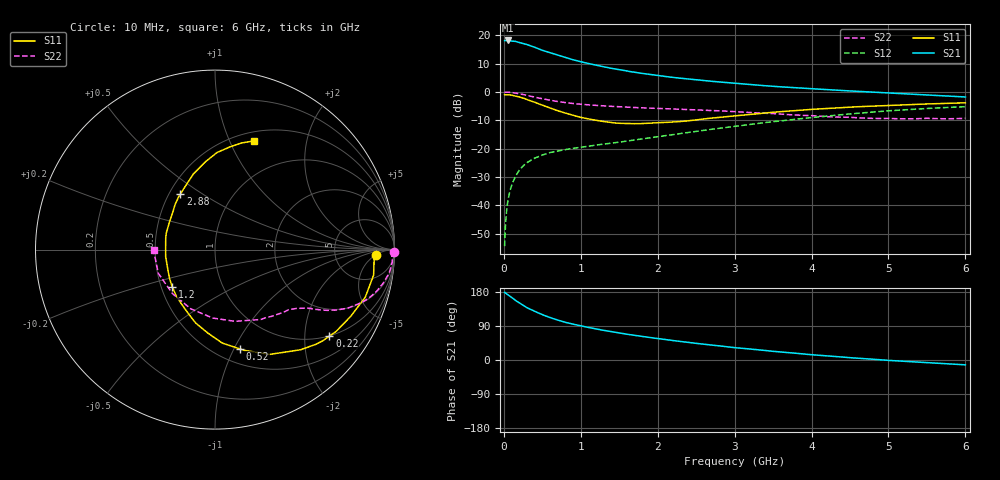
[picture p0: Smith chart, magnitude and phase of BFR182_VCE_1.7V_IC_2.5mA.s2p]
! Infineon Technologies  Discrete & RF Semiconductors
! BFR182
! VCE =  1.7 V,  IC =  2.5 mA
! Common Emitter S-Parameters:  Nov 2015
# GHz  S  MA  R  50
!  f  S11  S21  S12  S22
! GHz  MAG  ANG  MAG  ANG  MAG  ANG  MAG  ANG
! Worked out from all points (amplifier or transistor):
!   210 points, 10 MHz to 6 GHz, reference 50 ohm
!   highest |S21| = 18.1 dB at 50 MHz (marker M1)
!   |S21| within 3 dB of that: start of sweep to 455.3 MHz
!   unconditionally stable (mu >= 1): 1.352 GHz to 3.066 GHz
!   at 185 MHz: K = 0.21, MSG = 22.9 dB, |S12| = -28.3 dB
!   at 1.52 GHz: K = 1.04, MAG = 11.4 dB, |S12| = -17.6 dB
!   at 6 GHz: K = 0.90, MSG = 1.7 dB, |S12| = -5.2 dB
!   S11 on the Smith chart (normalised r, x): 10 MHz: 17, -5; 220 MHz: 0.99, -2.65; 520 MHz: 0.64, -1.06; 1.2 GHz: 0.57, -0.26; 2.88 GHz: 0.57, +0.41; 6 GHz: 0.60, +1.23
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0.01  0.8971 -2.0  8.006 178.7  0.0019 90.3  0.9963 -0.8
0.025  0.8887 -4.4  8.071 176.2  0.0053 87.4  0.9856 -2.0
0.05  0.895 -9.1  8.081 172.5  0.0114 83.5  0.9901 -4.0
0.09  0.88 -15.9  7.917 166.8  0.02 81.8  0.9811 -7.0
0.15  0.8426 -26.2  7.791 157.1  0.0319 74.9  0.954 -11.5
0.22  0.7991 -37.1  7.306 148.3  0.0445 69.7  0.9172 -15.7
0.3  0.7339 -49.5  6.851 138.1  0.0565 64.7  0.8684 -19.9
0.4  0.6592 -62.3  6.138 128.5  0.0677 59.3  0.8081 -23.8
0.5  0.5846 -73.8  5.416 119.4  0.077 55.7  0.7571 -26.4
0.52  0.5703 -75.9  5.312 118.0  0.0786 55.2  0.7485 -26.8
0.64  0.4981 -89.1  4.745 109.3  0.0872 52.6  0.6989 -28.9
0.8  0.4232 -104.7  4.059 99.4  0.0961 50.7  0.6468 -30.9
0.9  0.3885 -112.1  3.687 94.5  0.1011 50.5  0.623 -31.7
1.02  0.3506 -123.5  3.356 89.3  0.1063 50.5  0.6026 -32.8
1.2  0.3156 -139.2  2.959 81.7  0.1153 50.8  0.5777 -34.5
1.6  0.2777 -171.9  2.334 67.9  0.1361 53.2  0.5385 -38.2
2.02  0.287 160.4  1.929 56.1  0.1635 55.2  0.5129 -43.4
2.88  0.3644 122.1  1.466 35.5  0.2354 55.0  0.4582 -58.4
3.1  0.388 115.5  1.385 30.9  0.257 53.8  0.4396 -63.5
4.1  0.5009 94.7  1.118 12.5  0.3637 45.6  0.3729 -95.6
5.1  0.5844 80.6  0.944 -2.2  0.4731 32.9  0.3367 -138.8
6  0.6424 70.4  0.814 -12.8  0.549 19.1  0.3421 -179.3
